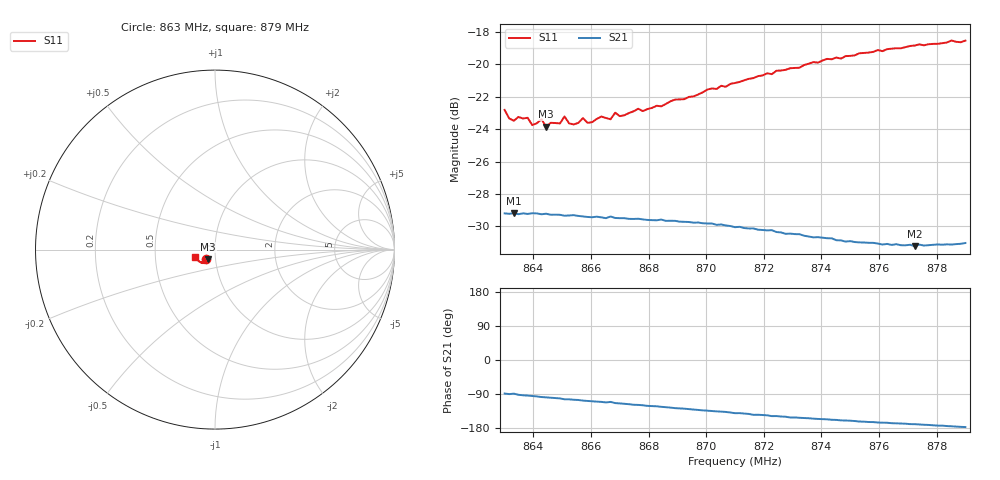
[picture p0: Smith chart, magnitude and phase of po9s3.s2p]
# HZ S RI R 50
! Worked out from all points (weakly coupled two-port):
!   101 points, 863 MHz to 879 MHz, reference 50 ohm
!   highest |S21| = -29.18 dB at 863.32 MHz (marker M1); lowest = -31.2 dB at 877.24 MHz (marker M2)
!   lowest |S11| = -23.9 dB at 864.44 MHz (marker M3), VSWR 1.14, Z = 46.1 - j4.83 ohm
!   |S11| at or under -10 dB: start of sweep to end of sweep
!   S12 and S22 are empty: the file has one direction only
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8.63e8  -0.049 -0.0532  0.000883 -0.0347  0 0  0 0
8.6316e8  -0.0429 -0.0528  -2.6e-05 -0.0346  0 0  0 0
8.6332e8  -0.0401 -0.0535  0.000704 -0.0347  0 0  0 0
8.638e8  -0.0418 -0.0541  -0.00234 -0.0345  0 0  0 0
8.6396e8  -0.0391 -0.0518  -0.00303 -0.0346  0 0  0 0
8.6428e8  -0.0395 -0.0549  -0.00463 -0.0342  0 0  0 0
8.6444e8  -0.0374 -0.0522  -0.00517 -0.0342  0 0  0 0
8.6492e8  -0.0363 -0.0547  -0.00675 -0.0337  0 0  0 0
8.6508e8  -0.0412 -0.0553  -0.00809 -0.0331  0 0  0 0
8.654e8  -0.0358 -0.0545  -0.00884 -0.0331  0 0  0 0
8.6572e8  -0.0354 -0.0583  -0.01 -0.0324  0 0  0 0
8.6604e8  -0.0347 -0.0565  -0.0109 -0.0319  0 0  0 0
8.6636e8  -0.0361 -0.0588  -0.0118 -0.0316  0 0  0 0
8.6668e8  -0.0388 -0.0554  -0.0119 -0.0318  0 0  0 0
8.6684e8  -0.035 -0.0616  -0.0135 -0.0307  0 0  0 0
8.67e8  -0.0337 -0.0604  -0.0139 -0.0305  0 0  0 0
8.6844e8  -0.0354 -0.0651  -0.0183 -0.0277  0 0  0 0
8.71e8  -0.0463 -0.0742  -0.0242 -0.0201  0 0  0 0
8.7372e8  -0.0679 -0.0755  -0.0265 -0.0125  0 0  0 0
8.7644e8  -0.0924 -0.0627  -0.027 -0.00634  0 0  0 0
8.7724e8  -0.0992 -0.0565  -0.027 -0.00509  0 0  0 0
8.79e8  -0.111 -0.0406  -0.0281 -0.00146  0 0  0 0
